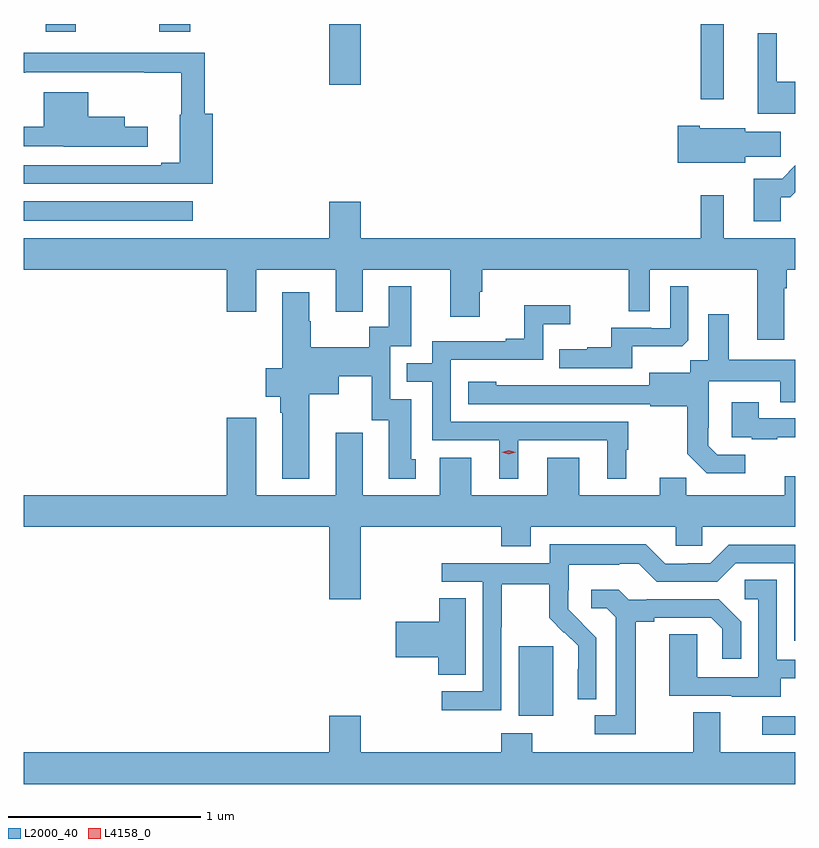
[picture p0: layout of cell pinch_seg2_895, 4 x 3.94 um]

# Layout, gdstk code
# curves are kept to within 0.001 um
import gdstk
lib = gdstk.Library(unit=1e-6, precision=1e-09)
def R(c, l, rs):  # rectangles x0, y0, x1, y1
    for r in rs: c.add(gdstk.rectangle(r[:2], r[2:], *l))
def P(c, l, *ps):  # polygons
    for p in ps: c.add(gdstk.Polygon(p, *l))
L2000_40 = (2000, 40)
L4158_0 = (4158, 0)

pinch_seg2_895 = lib.new_cell('pinch_seg2_895')
R(pinch_seg2_895, L2000_40, [(395.025,643.896,395.196,643.992), (393.761,643.994,393.94,644.355), (391.196,646.559,392.074,646.66), (394.704,647.187,394.825,647.578), (392.78,647.262,392.944,647.578), (391.312,647.537,391.467,647.578), (391.9,647.537,392.06,647.578)])
P(pinch_seg2_895, L2000_40, [(395.196,647.278),(395.098,647.278),(395.098,647.53),(395,647.53),(395,647.114),(395.196,647.114)],
  [(392.177,647.113),(392.135,647.113),(392.135,647.428),(391.196,647.428),(391.196,647.325),(391.205,647.325),(391.205,647.327),(391.822,647.327),(391.822,647.325),(392.014,647.325),(392.014,647.109),(392.006,647.109),(392.006,646.858),(391.91,646.858),(391.91,646.845),(391.196,646.845),(391.196,646.749),(392.177,646.749)],
  [(391.84,647.045),(391.72,647.045),(391.72,647.098),(391.531,647.098),(391.531,647.224),(391.301,647.224),(391.301,647.045),(391.196,647.045),(391.196,646.944),(391.405,646.944),(391.405,646.943),(391.84,646.943)],
  [(394.935,646.891),(395.119,646.891),(395.119,647.02),(394.935,647.02),(394.935,647.038),(394.699,647.038),(394.699,647.051),(394.587,647.051),(394.587,646.859),(394.935,646.859)],
  [(395.119,646.679),(395.168,646.679),(395.196,646.707),(395.196,646.845),(395.128,646.777),(394.979,646.777),(394.979,646.557),(395.119,646.557)],
  [(392.813,646.086),(392.953,646.086),(392.953,646.304),(393.407,646.304),(393.407,646.062),(393.559,646.062),(393.559,646.191),(393.572,646.191),(393.572,646.304),(394.332,646.304),(394.332,646.09),(394.44,646.09),(394.44,646.304),(394.997,646.304),(394.997,645.942),(395.137,645.942),(395.137,646.208),(395.15,646.208),(395.15,646.304),(395.196,646.304),(395.196,646.468),(394.825,646.468),(394.825,646.69),(394.704,646.69),(394.704,646.468),(392.944,646.468),(392.944,646.657),(392.78,646.657),(392.78,646.468),(391.196,646.468),(391.196,646.304),(392.249,646.304),(392.249,646.086),(392.401,646.086),(392.401,646.304),(392.813,646.304)],
  [(394.351,645.908),(394.609,645.908),(394.641,645.939),(394.641,646.219),(394.548,646.219),(394.548,646.002),(394.448,646.002),(394.448,646.005),(394.241,646.005),(394.241,645.904),(394.117,645.904),(394.117,645.892),(393.973,645.892),(393.973,645.795),(394.351,645.795)],
  [(392.677,645.659),(392.83,645.659),(392.83,645.752),(393,645.752),(393,645.525),(393.089,645.525),(393.089,645.222),(393.229,645.222),(393.229,645.324),(393.205,645.324),(393.205,645.633),(393.096,645.633),(393.096,645.909),(393.205,645.909),(393.205,646.219),(393.089,646.219),(393.089,646.01),(392.988,646.01),(392.988,645.904),(392.685,645.904),(392.685,646.038),(392.677,646.038),(392.677,646.189),(392.537,646.189),(392.537,645.794),(392.45,645.794),(392.45,645.647),(392.525,645.647),(392.525,645.563),(392.537,645.563),(392.537,645.221),(392.677,645.221)],
  [(393.76,645.42),(394.22,645.42),(394.22,645.221),(394.318,645.221),(394.318,645.372),(394.33,645.372),(394.33,645.516),(393.411,645.516),(393.411,645.837),(393.888,645.837),(393.888,646.022),(394.03,646.022),(394.03,646.121),(393.79,646.121),(393.79,645.946),(393.695,645.946),(393.695,645.933),(393.315,645.933),(393.315,645.819),(393.181,645.819),(393.181,645.723),(393.315,645.723),(393.315,645.42),(393.662,645.42),(393.662,645.221),(393.76,645.221)],
  [(394.936,645.345),(394.791,645.345),(394.744,645.392),(394.744,645.487),(394.746,645.487),(394.746,645.728),(395.117,645.728),(395.117,645.619),(395.196,645.619),(395.196,645.838),(394.849,645.838),(394.849,646.075),(394.745,646.075),(394.745,645.836),(394.65,645.836),(394.65,645.772),(394.439,645.772),(394.439,645.705),(393.645,645.706),(393.645,645.724),(393.501,645.724),(393.501,645.609),(394.443,645.609),(394.443,645.597),(394.635,645.597),(394.635,645.351),(394.735,645.251),(394.936,645.251)],
  [(395.101,645.437),(395.196,645.437),(395.196,645.534),(395.005,645.534),(395.005,645.619),(394.865,645.619),(394.865,645.438),(394.969,645.438),(394.969,645.426),(395.101,645.426)],
  [(392.944,644.972),(393.671,644.972),(393.671,644.873),(393.823,644.873),(393.823,644.972),(394.575,644.972),(394.575,644.874),(394.713,644.874),(394.713,644.972),(395.196,644.972),(395.196,645.235),(395.141,645.235),(395.141,645.136),(394.631,645.136),(394.631,645.227),(394.493,645.227),(394.493,645.136),(394.075,645.136),(394.075,645.331),(393.911,645.331),(393.911,645.136),(393.517,645.136),(393.517,645.331),(393.353,645.331),(393.353,645.136),(392.953,645.136),(392.953,645.46),(392.813,645.46),(392.813,645.136),(392.401,645.136),(392.401,645.538),(392.249,645.538),(392.249,645.136),(391.196,645.136),(391.196,644.972),(392.78,644.972),(392.78,644.598),(392.944,644.598)],
  [(393.672,644.452),(393.675,644.452),(393.675,644.676),(393.919,644.676),(393.919,644.501),(393.996,644.424),(393.999,644.427),(394.07,644.357),(394.07,644.234),(394.068,644.234),(394.068,644.08),(394.164,644.08),(394.164,644.398),(394.018,644.546),(394.018,644.643),(394.02,644.643),(394.02,644.777),(394.283,644.777),(394.283,644.781),(394.383,644.781),(394.476,644.688),(394.791,644.688),(394.887,644.784),(395.19,644.784),(395.19,644.382),(395.196,644.382),(395.196,644.88),(394.851,644.88),(394.755,644.784),(394.637,644.784),(394.637,644.781),(394.521,644.781),(394.421,644.881),(393.924,644.881),(393.924,644.784),(393.363,644.784),(393.363,644.688),(393.576,644.688),(393.576,644.121),(393.363,644.121),(393.363,644.023),(393.672,644.023)],
  [(395.119,644.187),(395.196,644.187),(395.196,644.283),(395.1,644.283),(395.1,644.699),(394.932,644.699),(394.932,644.598),(395.004,644.598),(395.004,644.193),(394.686,644.193),(394.686,644.417),(394.541,644.417),(394.541,644.097),(394.865,644.097),(394.865,644.093),(395.119,644.093)],
  [(394.369,644.48),(394.465,644.48),(394.465,644.502),(394.76,644.502),(394.817,644.445),(394.817,644.289),(394.914,644.289),(394.914,644.482),(394.798,644.598),(394.426,644.598),(394.426,644.595),(394.332,644.595),(394.28,644.647),(394.137,644.647),(394.137,644.55),(394.218,644.55),(394.265,644.503),(394.265,643.995),(394.155,643.995),(394.155,643.899),(394.369,643.899)],
  [(393.487,644.603),(393.349,644.603),(393.349,644.48),(393.126,644.48),(393.126,644.297),(393.344,644.297),(393.344,644.206),(393.487,644.206)],
  [(395.196,643.804),(394.807,643.804),(394.807,644.012),(394.667,644.012),(394.667,643.804),(393.831,643.804),(393.831,643.903),(393.671,643.903),(393.671,643.804),(392.944,643.804),(392.944,643.993),(392.78,643.993),(392.78,643.804),(391.196,643.804),(391.196,643.64),(395.196,643.64)])
P(pinch_seg2_895, L4158_0, [(393.711,645.349),(393.675,645.359),(393.675,645.359),(393.675,645.36),(393.711,645.369),(393.747,645.358),(393.747,645.358),(393.747,645.358)])

lib.write_gds('pinch_seg2_895.gds')
